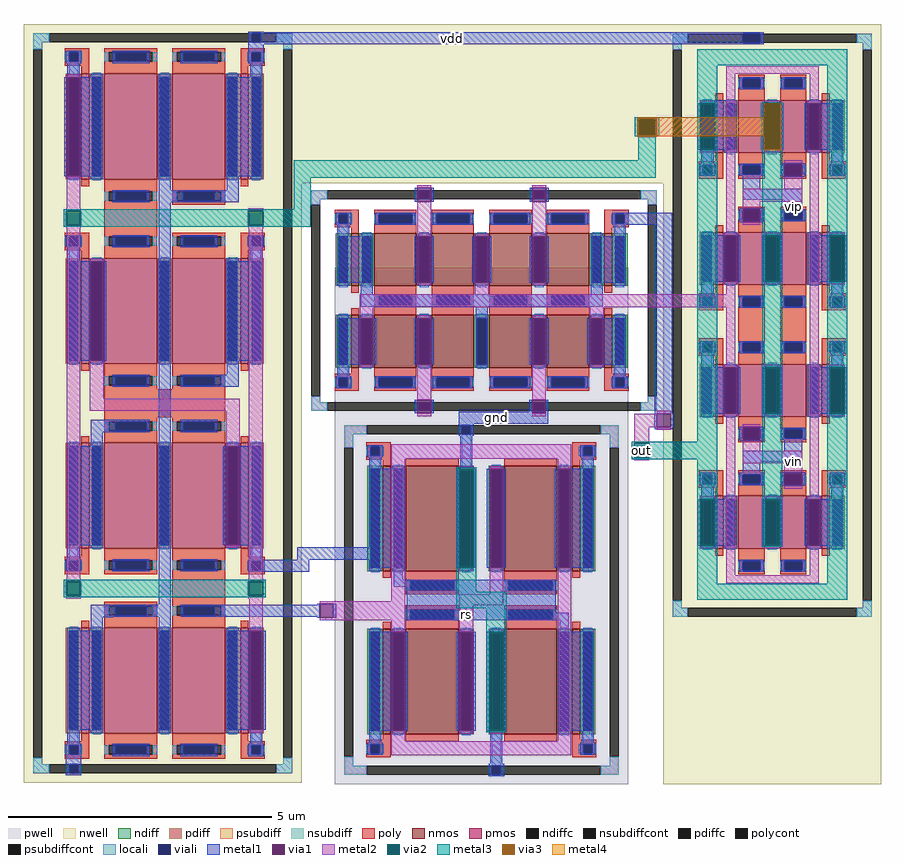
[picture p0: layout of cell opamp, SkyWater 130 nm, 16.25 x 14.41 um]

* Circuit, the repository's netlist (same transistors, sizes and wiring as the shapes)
** sch_path: /home/jevon/opamp/mag/opamp.sch
.subckt opamp VDD GND RS OUT VIN VIP
*.PININFO VDD:B GND:B RS:B OUT:B VIN:B VIP:B
x1 net2 net1 RS GND nmoscs
x2 OUT net4 GND nmoscs2
x3 VDD net3 net1 net2 pmoscs
x4 net3 VIN VIP VDD OUT net4 pmosdiff
.ends

* expanding   symbol:  nmoscs.sym # of pins=4
** sym_path: /home/jevon/opamp/mag/nmoscs.sym
** sch_path: /home/jevon/opamp/mag/nmoscs.sch
.subckt nmoscs D4 D3 RS GND
*.PININFO D3:B D4:B RS:B GND:B
XM4 D4 D3 RS GND sky130_fd_pr__nfet_01v8 L=1 W=2 nf=1 m=2
XM3 D3 D3 GND GND sky130_fd_pr__nfet_01v8 L=1 W=2 nf=1 m=2
XM1 D3 D3 D3 GND sky130_fd_pr__nfet_01v8 L=0.15 W=2 nf=1 m=2
XM2 D4 D4 D4 GND sky130_fd_pr__nfet_01v8 L=0.15 W=2 nf=1 m=2
.ends


* expanding   symbol:  nmoscs2.sym # of pins=3
** sym_path: /home/jevon/opamp/mag/nmoscs2.sym
** sch_path: /home/jevon/opamp/mag/nmoscs2.sch
.subckt nmoscs2 D8 D9 GND
*.PININFO D8:B GND:B D9:B
XM9 D9 D8 GND GND sky130_fd_pr__nfet_01v8 L=0.8 W=1 nf=1 m=4
XM8 D8 D8 GND GND sky130_fd_pr__nfet_01v8 L=0.8 W=1 nf=1 m=4
XM1 D8 D8 D8 GND sky130_fd_pr__nfet_01v8 L=0.15 W=1 nf=1 m=2
XM2 D9 D9 D9 GND sky130_fd_pr__nfet_01v8 L=0.15 W=1 nf=1 m=2
.ends


* expanding   symbol:  pmoscs.sym # of pins=4
** sym_path: /home/jevon/opamp/mag/pmoscs.sym
** sch_path: /home/jevon/opamp/mag/pmoscs.sch
.subckt pmoscs VDD D5 D1 D2
*.PININFO VDD:B D5:B D2:B D1:B
XM1 D1 D2 VDD VDD sky130_fd_pr__pfet_01v8 L=1 W=2 nf=1 m=2
XM2 D2 D2 VDD VDD sky130_fd_pr__pfet_01v8 L=1 W=2 nf=1 m=2
XM5 D5 D2 VDD VDD sky130_fd_pr__pfet_01v8 L=1 W=2 nf=1 m=2
XM3 VDD VDD VDD VDD sky130_fd_pr__pfet_01v8 L=1 W=2 nf=1 m=2
XM4 VDD VDD VDD VDD sky130_fd_pr__pfet_01v8 L=0.15 W=2 nf=1 m=2
XM6 D2 D2 D2 VDD sky130_fd_pr__pfet_01v8 L=0.15 W=2 nf=1 m=2
XM7 D1 D1 D1 VDD sky130_fd_pr__pfet_01v8 L=0.15 W=2 nf=1 m=2
XM8 D5 D5 D5 VDD sky130_fd_pr__pfet_01v8 L=0.15 W=2 nf=1 m=2
.ends


* expanding   symbol:  pmosdiff.sym # of pins=6
** sym_path: /home/jevon/opamp/mag/pmosdiff.sym
** sch_path: /home/jevon/opamp/mag/pmosdiff.sch
.subckt pmosdiff D5 VIN VIP VDD OUT D6
*.PININFO VIN:I VIP:I D6:B D5:B VDD:B OUT:B
XM6 D6 VIN D5 VDD sky130_fd_pr__pfet_01v8 L=0.5 W=1 nf=1 m=4
XM7 OUT VIP D5 VDD sky130_fd_pr__pfet_01v8 L=0.5 W=1 nf=1 m=4
XM1 D6 D6 D6 VDD sky130_fd_pr__pfet_01v8 L=0.15 W=1 nf=1 m=4
XM2 OUT OUT OUT VDD sky130_fd_pr__pfet_01v8 L=0.15 W=1 nf=1 m=4
.ends

.end

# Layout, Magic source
magic
tech sky130A
magscale 1 2
<< nwell >>
rect -1394 2147 -23 2751
rect -23 -130 802 468
<< pwell >>
rect -1269 154 -157 1827
<< metal1 >>
rect -1548 2674 277 2720
rect -121 2334 -111 2386
rect -59 2334 -49 2386
rect 435 2043 503 2126
rect -165 1990 10 2036
rect -799 1236 -459 1282
rect -55 1274 10 1990
rect -799 1230 -741 1236
rect -58 1222 -48 1274
rect 4 1222 14 1274
rect -55 1214 10 1222
rect -1411 721 -1005 767
rect -1547 675 -1365 721
rect -1336 550 -1326 553
rect -1723 504 -1326 550
rect -1336 501 -1326 504
rect -1274 501 -1264 553
<< via1 >>
rect -111 2334 -59 2386
rect -48 1222 4 1274
rect -1326 501 -1274 553
<< metal2 >>
rect -113 2388 -57 2398
rect -113 2322 -57 2332
rect -252 1678 249 1726
rect -48 1274 4 1284
rect -120 1273 -48 1274
rect -133 1222 -48 1273
rect -133 1163 -77 1222
rect -48 1212 4 1222
rect -133 1097 -77 1107
rect 435 1052 503 1134
rect -1326 553 -1002 563
rect -1274 501 -1002 553
rect -1326 491 -1002 501
rect -796 491 -744 537
<< via2 >>
rect -113 2386 -57 2388
rect -113 2334 -111 2386
rect -111 2334 -59 2386
rect -59 2334 -57 2386
rect -113 2332 -57 2334
rect -133 1107 -77 1163
<< metal3 >>
rect -131 2325 -121 2397
rect -49 2325 -39 2397
rect -118 2235 -52 2325
rect 348 2274 358 2450
rect 422 2274 432 2450
rect -1425 2169 -52 2235
rect -1425 2048 -1359 2169
rect -1537 1982 -1359 2048
rect -143 1163 182 1168
rect -143 1107 -133 1163
rect -77 1107 182 1163
rect -143 1102 182 1107
<< via3 >>
rect -121 2388 -49 2397
rect -121 2332 -113 2388
rect -113 2332 -57 2388
rect -57 2332 -49 2388
rect -121 2325 -49 2332
rect 358 2274 422 2450
<< metal4 >>
rect 357 2450 423 2451
rect -122 2397 -48 2398
rect 357 2397 358 2450
rect -122 2325 -121 2397
rect -49 2325 358 2397
rect -122 2324 -48 2325
rect 357 2274 358 2325
rect 422 2274 423 2450
rect 357 2273 423 2274
use nmoscs2  nmoscs2_0
transform 1 0 -1201 0 1 1667
box -157 -402 1152 473
use nmoscs  nmoscs_0
transform 1 0 -1057 0 1 589
box -212 -719 900 677
use pmoscs  pmoscs_0
transform 1 0 -2235 0 1 1209
box -212 -1335 841 1542
use pmosdiff  pmosdiff_0
transform 1 0 220 0 1 2215
box -243 -1747 582 535
<< labels >>
flabel via2 -107 1133 -107 1133 0 FreeSans 480 0 0 0 out
port 0 nsew
flabel metal2 470 1091 470 1091 0 FreeSans 480 0 0 0 vin
port 1 nsew
flabel metal1 470 2059 470 2059 0 FreeSans 480 0 0 0 vip
port 2 nsew
flabel metal1 -823 2697 -823 2697 0 FreeSans 480 0 0 0 vdd
port 3 nsew
flabel metal1 -655 1258 -655 1258 0 FreeSans 480 0 0 0 gnd
port 4 nsew
flabel metal2 -770 512 -770 512 0 FreeSans 480 0 0 0 rs
port 5 nsew
<< end >>

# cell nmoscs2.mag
magic
tech sky130A
magscale 1 2
<< psubdiff >>
rect -157 420 -97 454
rect 1092 420 1152 454
rect -157 398 -123 420
rect 1118 398 1152 420
rect -157 -349 -123 -327
rect 1118 -349 1152 -327
rect -157 -383 -97 -349
rect 1092 -383 1152 -349
<< psubdiffcont >>
rect -97 420 1092 454
rect -157 -327 -123 398
rect 1118 -327 1152 398
rect -97 -383 1092 -349
<< poly >>
rect -68 363 24 379
rect -68 329 -52 363
rect -18 329 24 363
rect -68 313 24 329
rect -6 291 24 313
rect 954 363 1046 379
rect 954 329 996 363
rect 1030 329 1046 363
rect 954 313 1046 329
rect 954 291 984 313
rect -6 -241 24 -219
rect -68 -257 24 -241
rect -68 -291 -52 -257
rect -18 -291 24 -257
rect -68 -307 24 -291
rect 954 -241 984 -219
rect 954 -257 1046 -241
rect 954 -291 996 -257
rect 1030 -291 1046 -257
rect 954 -307 1046 -291
<< polycont >>
rect -52 329 -18 363
rect 996 329 1030 363
rect -52 -291 -18 -257
rect 996 -291 1030 -257
<< locali >>
rect -157 420 -97 454
rect 1092 420 1152 454
rect -157 398 -123 420
rect 1118 398 1152 420
rect -68 329 -52 363
rect -18 329 -2 363
rect 980 329 996 363
rect 1030 329 1046 363
rect -52 291 -18 329
rect 996 291 1030 329
rect -52 -257 -18 -219
rect 996 -257 1030 -219
rect -68 -291 -52 -257
rect -18 -291 -2 -257
rect 980 -291 996 -257
rect 1030 -291 1046 -257
rect -157 -349 -123 -327
rect 1118 -349 1152 -327
rect -157 -383 -97 -349
rect 1092 -383 1152 -349
<< viali >>
rect 254 420 288 454
rect 690 420 724 454
rect -52 329 -18 363
rect 996 329 1030 363
rect -52 -291 -18 -257
rect 996 -291 1030 -257
rect 254 -383 288 -349
rect 690 -383 724 -349
<< metal1 >>
rect 235 411 245 463
rect 297 411 307 463
rect 671 411 681 463
rect 733 411 743 463
rect -64 363 -6 369
rect -64 329 -52 363
rect -18 329 -6 363
rect -64 323 -6 329
rect 984 363 1042 369
rect 984 329 996 363
rect 1030 329 1042 363
rect 984 323 1042 329
rect -58 291 -12 323
rect 990 291 1036 323
rect 990 279 1030 291
rect -52 103 70 279
rect 235 103 245 279
rect 297 103 307 279
rect 453 103 463 279
rect 515 103 525 279
rect 671 103 681 279
rect 733 103 743 279
rect 908 103 1030 279
rect 30 59 76 103
rect 902 59 948 103
rect 30 13 948 59
rect 466 -31 512 13
rect -52 -207 27 -31
rect 79 -207 89 -31
rect 235 -207 245 -31
rect 297 -207 307 -31
rect 671 -207 681 -31
rect 733 -207 743 -31
rect 889 -207 899 -31
rect 951 -207 1030 -31
rect -58 -251 -12 -219
rect 990 -251 1036 -219
rect -64 -257 -6 -251
rect -64 -291 -52 -257
rect -18 -291 -6 -257
rect -64 -297 -6 -291
rect 984 -257 1042 -251
rect 984 -291 996 -257
rect 1030 -291 1042 -257
rect 984 -297 1042 -291
rect 235 -392 245 -340
rect 297 -392 307 -340
rect 670 -392 680 -340
rect 732 -392 742 -340
<< via1 >>
rect 245 454 297 463
rect 245 420 254 454
rect 254 420 288 454
rect 288 420 297 454
rect 245 411 297 420
rect 681 454 733 463
rect 681 420 690 454
rect 690 420 724 454
rect 724 420 733 454
rect 681 411 733 420
rect 245 103 297 279
rect 463 103 515 279
rect 681 103 733 279
rect 27 -207 79 -31
rect 245 -207 297 -31
rect 681 -207 733 -31
rect 899 -207 951 -31
rect 245 -349 297 -340
rect 245 -383 254 -349
rect 254 -383 288 -349
rect 288 -383 297 -349
rect 245 -392 297 -383
rect 680 -349 732 -340
rect 680 -383 690 -349
rect 690 -383 724 -349
rect 724 -383 732 -349
rect 680 -392 732 -383
<< metal2 >>
rect 245 463 297 473
rect 245 279 297 411
rect 681 463 733 473
rect 245 93 297 103
rect 463 279 515 289
rect 463 59 515 103
rect 681 279 733 411
rect 681 93 733 103
rect 27 11 951 59
rect 27 -31 79 11
rect 27 -217 79 -207
rect 245 -31 297 -21
rect 245 -340 297 -207
rect 681 -31 733 -21
rect 681 -208 733 -207
rect 245 -402 297 -392
rect 680 -217 733 -208
rect 899 -31 951 11
rect 899 -217 951 -207
rect 680 -340 732 -217
rect 680 -402 732 -392
use sky130_fd_pr__nfet_01v8_6H9P4D  sky130_fd_pr__nfet_01v8_6H9P4D_0
transform 1 0 9 0 1 191
box -73 -126 73 126
use sky130_fd_pr__nfet_01v8_6H9P4D  sky130_fd_pr__nfet_01v8_6H9P4D_1
transform 1 0 969 0 1 191
box -73 -126 73 126
use sky130_fd_pr__nfet_01v8_6H9P4D  sky130_fd_pr__nfet_01v8_6H9P4D_2
transform 1 0 969 0 1 -119
box -73 -126 73 126
use sky130_fd_pr__nfet_01v8_6H9P4D  sky130_fd_pr__nfet_01v8_6H9P4D_3
transform 1 0 9 0 1 -119
box -73 -126 73 126
use sky130_fd_pr__nfet_01v8_6MBC9T  sky130_fd_pr__nfet_01v8_6MBC9T_0
transform 1 0 271 0 1 -119
box -247 -188 247 188
use sky130_fd_pr__nfet_01v8_6MBC9T  sky130_fd_pr__nfet_01v8_6MBC9T_1
transform 1 0 707 0 1 -119
box -247 -188 247 188
use sky130_fd_pr__nfet_01v8_6MBC9T  sky130_fd_pr__nfet_01v8_6MBC9T_2
transform 1 0 271 0 1 191
box -247 -188 247 188
use sky130_fd_pr__nfet_01v8_6MBC9T  sky130_fd_pr__nfet_01v8_6MBC9T_3
transform 1 0 707 0 1 191
box -247 -188 247 188
<< labels >>
flabel space 162 182 162 182 0 FreeSans 480 0 0 0 M8
flabel space 377 181 377 181 0 FreeSans 480 0 0 0 M9
flabel space 595 180 595 180 0 FreeSans 480 0 0 0 M9
flabel space 815 -115 815 -115 0 FreeSans 480 0 0 0 M9
flabel space 158 -117 158 -117 0 FreeSans 480 0 0 0 M9
flabel space 813 184 813 184 0 FreeSans 480 0 0 0 M8
flabel space 594 -126 594 -126 0 FreeSans 480 0 0 0 M8
flabel space 381 -130 381 -130 0 FreeSans 480 0 0 0 M8
flabel metal2 706 -326 706 -326 0 FreeSans 480 0 0 0 gnd
port 0 nsew
flabel metal1 53 75 53 75 0 FreeSans 480 0 0 0 d8
port 1 nsew
flabel metal2 925 -4 925 -4 0 FreeSans 480 0 0 0 d9
port 2 nsew
<< end >>

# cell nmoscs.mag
magic
tech sky130A
magscale 1 2
<< pwell >>
rect -212 -719 900 677
<< psubdiff >>
rect -176 607 -90 641
rect 796 607 864 641
rect -176 555 -142 607
rect 830 555 864 607
rect -176 -649 -142 -615
rect 830 -649 864 -615
rect -176 -683 -90 -649
rect 796 -683 864 -649
<< psubdiffcont >>
rect -90 607 796 641
rect -176 -615 -142 555
rect 830 -615 864 555
rect -90 -683 796 -649
<< poly >>
rect -92 560 0 576
rect -92 526 -76 560
rect -42 526 0 560
rect -92 510 0 526
rect -30 488 0 510
rect 688 560 780 576
rect 688 526 730 560
rect 764 526 780 560
rect 688 510 780 526
rect 688 488 718 510
rect -30 -552 0 -530
rect -92 -568 0 -552
rect -92 -602 -76 -568
rect -42 -602 0 -568
rect -92 -618 0 -602
rect 688 -568 780 -552
rect 688 -602 730 -568
rect 764 -602 780 -568
rect 688 -618 780 -602
<< polycont >>
rect -76 526 -42 560
rect 730 526 764 560
rect -76 -602 -42 -568
rect 730 -602 764 -568
<< locali >>
rect -176 607 -90 641
rect 796 607 864 641
rect -176 555 -142 607
rect -92 526 -76 560
rect -42 526 -26 560
rect -76 488 -42 526
rect 270 487 304 607
rect 714 526 730 560
rect 764 526 780 560
rect 830 555 864 607
rect 730 488 764 526
rect -76 -568 -42 -530
rect -92 -602 -76 -568
rect -42 -602 -26 -568
rect -176 -649 -142 -615
rect 384 -649 418 -530
rect 730 -568 764 -533
rect 714 -602 730 -568
rect 764 -602 780 -568
rect 830 -649 864 -615
rect -176 -683 -90 -649
rect 796 -683 864 -649
<< viali >>
rect 270 607 304 641
rect -76 526 -42 560
rect 730 526 764 560
rect -76 -602 -42 -568
rect 730 -602 764 -568
rect 384 -683 418 -649
<< metal1 >>
rect 258 641 316 647
rect 258 607 270 641
rect 304 607 316 641
rect 258 601 316 607
rect -88 560 -30 566
rect -88 526 -76 560
rect -42 526 -30 560
rect -88 520 -30 526
rect -82 488 -36 520
rect 264 482 310 601
rect 718 560 776 566
rect 718 526 730 560
rect 764 526 776 560
rect 718 520 776 526
rect 724 488 770 520
rect -76 100 46 476
rect 251 100 261 476
rect 313 100 323 476
rect 365 100 375 476
rect 427 100 437 476
rect 623 100 633 476
rect 685 100 764 476
rect 12 56 46 88
rect 12 28 626 56
rect 62 -70 626 28
rect 62 -98 676 -70
rect 642 -130 676 -98
rect -76 -518 3 -142
rect 55 -518 65 -142
rect 251 -518 261 -142
rect 313 -518 323 -142
rect 365 -518 375 -142
rect 427 -518 437 -142
rect 642 -518 764 -142
rect -82 -562 -36 -530
rect -88 -568 -30 -562
rect -88 -602 -76 -568
rect -42 -602 -30 -568
rect -88 -608 -30 -602
rect 378 -643 424 -525
rect 724 -562 770 -527
rect 718 -568 776 -562
rect 718 -602 730 -568
rect 764 -602 776 -568
rect 718 -608 776 -602
rect 372 -649 430 -643
rect 372 -683 384 -649
rect 418 -683 430 -649
rect 372 -689 430 -683
<< via1 >>
rect 261 100 313 476
rect 375 100 427 476
rect 633 100 685 476
rect 3 -518 55 -142
rect 261 -518 313 -142
rect 375 -518 427 -142
<< metal2 >>
rect 3 514 685 568
rect 3 -142 55 514
rect 259 476 315 486
rect 259 90 315 100
rect 375 476 427 486
rect 375 0 427 100
rect 3 -556 55 -518
rect 261 -42 427 0
rect 633 476 685 514
rect 261 -142 313 -42
rect 261 -528 313 -518
rect 373 -142 429 -132
rect 373 -528 429 -518
rect 633 -556 685 100
rect 3 -610 685 -556
<< via2 >>
rect 259 100 261 476
rect 261 100 313 476
rect 313 100 315 476
rect 373 -518 375 -142
rect 375 -518 427 -142
rect 427 -518 429 -142
<< metal3 >>
rect 249 476 325 481
rect 249 100 259 476
rect 315 100 325 476
rect 249 10 325 100
rect 249 -52 440 10
rect 363 -142 439 -52
rect 363 -518 373 -142
rect 429 -518 439 -142
rect 363 -523 439 -518
use sky130_fd_pr__nfet_01v8_27FZYL  sky130_fd_pr__nfet_01v8_27FZYL_0
transform 1 0 344 0 1 257
box -344 -257 344 257
use sky130_fd_pr__nfet_01v8_Q6296P  sky130_fd_pr__nfet_01v8_Q6296P_0
transform 1 0 344 0 1 -299
box -344 -257 344 257
use sky130_fd_pr__nfet_01v8_TC9PLT  sky130_fd_pr__nfet_01v8_TC9PLT_0
transform 1 0 703 0 1 288
box -73 -226 73 226
use sky130_fd_pr__nfet_01v8_TC9PLT  sky130_fd_pr__nfet_01v8_TC9PLT_1
transform 1 0 -15 0 1 288
box -73 -226 73 226
use sky130_fd_pr__nfet_01v8_TC9PLT  sky130_fd_pr__nfet_01v8_TC9PLT_2
transform 1 0 -15 0 1 -330
box -73 -226 73 226
use sky130_fd_pr__nfet_01v8_TC9PLT  sky130_fd_pr__nfet_01v8_TC9PLT_3
transform 1 0 703 0 1 -330
box -73 -226 73 226
<< labels >>
flabel metal1 400 -630 401 -630 0 FreeSans 480 0 0 0 gnd
port 0 nsew
flabel metal1 -15 214 -15 214 0 FreeSans 480 0 0 0 d3
port 1 nsew
flabel metal2 402 69 402 69 0 FreeSans 480 0 0 0 rs
port 2 nsew
flabel metal2 657 534 657 534 0 FreeSans 480 0 0 0 d4
port 3 nsew
<< end >>

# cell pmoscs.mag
magic
tech sky130A
magscale 1 2
<< nwell >>
rect -212 -1335 841 1542
<< nsubdiff >>
rect -176 1472 -116 1506
rect 745 1472 805 1506
rect -176 1447 -142 1472
rect 771 1447 805 1472
rect -176 -1265 -142 -1240
rect 771 -1265 805 -1240
rect -176 -1299 -116 -1265
rect 745 -1299 805 -1265
<< nsubdiffcont >>
rect -116 1472 745 1506
rect -176 -1240 -142 1447
rect 771 -1240 805 1447
rect -116 -1299 745 -1265
<< poly >>
rect -57 1434 35 1450
rect -57 1400 -41 1434
rect -7 1400 35 1434
rect -57 1384 35 1400
rect 5 1353 35 1384
rect 609 1434 701 1450
rect 609 1400 651 1434
rect 685 1400 701 1434
rect 609 1384 701 1400
rect 609 1374 639 1384
rect 93 751 293 856
rect -57 735 35 751
rect -57 701 -41 735
rect -7 701 35 735
rect -57 685 35 701
rect 5 654 35 685
rect 609 735 701 751
rect 609 701 651 735
rect 685 701 701 735
rect 609 685 701 701
rect 609 654 639 685
rect 93 51 551 157
rect 5 -477 35 -446
rect -57 -493 35 -477
rect -57 -527 -41 -493
rect -7 -527 35 -493
rect -57 -543 35 -527
rect 609 -478 639 -448
rect 609 -494 701 -478
rect 609 -528 651 -494
rect 685 -528 701 -494
rect 351 -649 551 -543
rect 609 -544 701 -528
rect 5 -1177 35 -1146
rect -57 -1193 35 -1177
rect -57 -1227 -41 -1193
rect -7 -1227 35 -1193
rect -57 -1243 35 -1227
rect 609 -1177 639 -1147
rect 609 -1193 701 -1177
rect 609 -1227 651 -1193
rect 685 -1227 701 -1193
rect 609 -1243 701 -1227
<< polycont >>
rect -41 1400 -7 1434
rect 651 1400 685 1434
rect -41 701 -7 735
rect 651 701 685 735
rect -41 -527 -7 -493
rect 651 -528 685 -494
rect -41 -1227 -7 -1193
rect 651 -1227 685 -1193
<< locali >>
rect -176 1472 -116 1506
rect 745 1472 805 1506
rect -176 1447 -142 1472
rect 771 1447 805 1472
rect -57 1400 -41 1434
rect -7 1400 9 1434
rect 635 1400 651 1434
rect 685 1400 701 1434
rect -41 1353 -7 1400
rect 651 1346 685 1400
rect -57 701 -41 735
rect -7 701 9 735
rect 635 701 651 735
rect 685 701 701 735
rect -41 654 -7 701
rect 651 654 685 701
rect -41 -493 -7 -431
rect -57 -527 -41 -493
rect -7 -527 9 -493
rect 651 -494 685 -448
rect 635 -528 651 -494
rect 685 -528 701 -494
rect -41 -1193 -7 -1146
rect 651 -1193 685 -1124
rect -57 -1227 -41 -1193
rect -7 -1227 9 -1193
rect 635 -1227 651 -1193
rect 685 -1227 701 -1193
rect -176 -1265 -142 -1240
rect 771 -1265 805 -1240
rect -176 -1299 -116 -1265
rect 745 -1299 805 -1265
<< viali >>
rect 651 1472 685 1506
rect -41 1400 -7 1434
rect 651 1400 685 1434
rect -41 701 -7 735
rect 651 701 685 735
rect -41 -527 -7 -493
rect 651 -528 685 -494
rect -41 -1227 -7 -1193
rect 651 -1227 685 -1193
rect -41 -1299 -7 -1265
<< metal1 >>
rect 639 1506 697 1512
rect 639 1472 651 1506
rect 685 1472 697 1506
rect -53 1434 5 1440
rect -53 1400 -41 1434
rect -7 1400 5 1434
rect -53 1394 5 1400
rect 639 1434 697 1472
rect 639 1400 651 1434
rect 685 1400 697 1434
rect 639 1394 697 1400
rect -47 1353 -1 1394
rect -60 965 -50 1341
rect 2 965 81 1341
rect 299 912 345 1353
rect 645 1343 691 1394
rect 563 965 685 1341
rect 557 912 603 958
rect 299 866 387 912
rect 519 866 603 912
rect -53 735 5 741
rect -53 701 -41 735
rect -7 701 5 735
rect -53 695 5 701
rect -47 654 -1 695
rect -41 266 38 642
rect 90 266 100 642
rect 41 -6 126 41
rect 41 -49 87 -6
rect -41 -434 81 -58
rect -41 -446 0 -434
rect -47 -487 -1 -446
rect -53 -493 5 -487
rect -53 -527 -41 -493
rect -7 -527 5 -493
rect -53 -533 5 -527
rect 299 -659 345 866
rect 639 735 697 741
rect 639 701 651 735
rect 685 701 697 735
rect 639 695 697 701
rect 645 654 691 695
rect 563 266 685 642
rect 557 213 603 262
rect 520 167 603 213
rect 544 -434 554 -58
rect 606 -413 685 -58
rect 606 -434 691 -413
rect 645 -488 691 -434
rect 639 -494 697 -488
rect 639 -528 651 -494
rect 685 -528 697 -494
rect 639 -534 697 -528
rect 41 -706 126 -659
rect 256 -705 345 -659
rect 41 -751 87 -706
rect -41 -1134 81 -758
rect -41 -1146 -1 -1134
rect 299 -1146 345 -705
rect 563 -1134 642 -758
rect 694 -1134 704 -758
rect -47 -1187 -1 -1146
rect 645 -1187 691 -1134
rect -53 -1193 5 -1187
rect -53 -1227 -41 -1193
rect -7 -1227 5 -1193
rect -53 -1265 5 -1227
rect 639 -1193 697 -1187
rect 639 -1227 651 -1193
rect 685 -1227 697 -1193
rect 639 -1233 697 -1227
rect -53 -1299 -41 -1265
rect -7 -1299 5 -1265
rect -53 -1305 5 -1299
<< via1 >>
rect -50 965 2 1341
rect 38 266 90 642
rect 554 -434 606 -58
rect 642 -1134 694 -758
<< metal2 >>
rect -50 1341 2 1351
rect -50 844 2 965
rect -52 834 4 844
rect -52 768 4 778
rect 639 834 695 844
rect 639 768 695 778
rect -50 -560 2 768
rect 38 642 90 652
rect 38 122 90 266
rect 38 76 606 122
rect 554 -58 606 76
rect 554 -444 606 -434
rect 641 -560 693 768
rect -52 -570 4 -560
rect -52 -636 4 -626
rect 639 -570 695 -560
rect 639 -636 695 -626
rect 642 -758 694 -636
rect 642 -1145 694 -1134
<< via2 >>
rect -52 778 4 834
rect 639 778 695 834
rect -52 -626 4 -570
rect 639 -626 695 -570
<< metal3 >>
rect -62 834 705 839
rect -62 778 -52 834
rect 4 778 639 834
rect 695 778 705 834
rect -62 773 705 778
rect -62 -570 705 -565
rect -62 -626 -52 -570
rect 4 -626 639 -570
rect 695 -626 705 -570
rect -62 -631 705 -626
use sky130_fd_pr__pfet_01v8_2ZH9AN  sky130_fd_pr__pfet_01v8_2ZH9AN_0
transform 1 0 624 0 1 454
box -109 -262 109 262
use sky130_fd_pr__pfet_01v8_2ZH9AN  sky130_fd_pr__pfet_01v8_2ZH9AN_1
transform 1 0 624 0 1 -946
box -109 -262 109 262
use sky130_fd_pr__pfet_01v8_2ZH9AN  sky130_fd_pr__pfet_01v8_2ZH9AN_2
transform 1 0 624 0 1 -246
box -109 -262 109 262
use sky130_fd_pr__pfet_01v8_2ZH9AN  sky130_fd_pr__pfet_01v8_2ZH9AN_3
transform 1 0 20 0 1 -946
box -109 -262 109 262
use sky130_fd_pr__pfet_01v8_2ZH9AN  sky130_fd_pr__pfet_01v8_2ZH9AN_4
transform 1 0 20 0 1 -246
box -109 -262 109 262
use sky130_fd_pr__pfet_01v8_2ZH9AN  sky130_fd_pr__pfet_01v8_2ZH9AN_5
transform 1 0 20 0 1 454
box -109 -262 109 262
use sky130_fd_pr__pfet_01v8_2ZH9AN  sky130_fd_pr__pfet_01v8_2ZH9AN_6
transform 1 0 20 0 1 1153
box -109 -262 109 262
use sky130_fd_pr__pfet_01v8_2ZH9AN  sky130_fd_pr__pfet_01v8_2ZH9AN_7
transform 1 0 624 0 1 1153
box -109 -262 109 262
use sky130_fd_pr__pfet_01v8_SDE6B7  sky130_fd_pr__pfet_01v8_SDE6B7_0
transform 1 0 322 0 1 1153
box -323 -300 323 300
use sky130_fd_pr__pfet_01v8_SDE6B7  sky130_fd_pr__pfet_01v8_SDE6B7_1
transform 1 0 322 0 1 454
box -323 -300 323 300
use sky130_fd_pr__pfet_01v8_SDE6B7  sky130_fd_pr__pfet_01v8_SDE6B7_2
transform 1 0 322 0 1 -246
box -323 -300 323 300
use sky130_fd_pr__pfet_01v8_SDE6B7  sky130_fd_pr__pfet_01v8_SDE6B7_3
transform 1 0 322 0 1 -946
box -323 -300 323 300
<< labels >>
flabel nwell 668 -957 668 -957 0 FreeSans 160 0 0 0 D5
flabel nwell 624 -958 624 -958 0 FreeSans 160 0 0 0 D
flabel nwell 580 -954 580 -954 0 FreeSans 160 0 0 0 D5
flabel nwell 450 -948 450 -948 0 FreeSans 160 0 0 0 M5
flabel nwell 323 -951 323 -951 0 FreeSans 160 0 0 0 S
flabel nwell 195 -945 195 -945 0 FreeSans 160 0 0 0 D
flabel nwell 64 -938 64 -938 0 FreeSans 160 0 0 0 S
flabel nwell 19 -935 19 -935 0 FreeSans 160 0 0 0 D
flabel nwell -23 -934 -23 -934 0 FreeSans 160 0 0 0 S
flabel nwell 668 -255 668 -255 0 FreeSans 160 0 0 0 D1
flabel nwell 624 -257 624 -257 0 FreeSans 160 0 0 0 D
flabel nwell 578 -254 578 -254 0 FreeSans 160 0 0 0 D1
flabel nwell 448 -250 448 -250 0 FreeSans 160 0 0 0 M1
flabel nwell 323 -246 323 -246 0 FreeSans 160 0 0 0 S
flabel nwell 187 -242 187 -242 0 FreeSans 160 0 0 0 M2
flabel nwell 66 -242 66 -242 0 FreeSans 160 0 0 0 D2
flabel nwell 17 -242 17 -242 0 FreeSans 160 0 0 0 D
flabel nwell -26 -238 -26 -238 0 FreeSans 160 0 0 0 D2
flabel nwell 667 444 667 444 0 FreeSans 160 0 0 0 D2
flabel nwell 624 445 624 445 0 FreeSans 160 0 0 0 D
flabel nwell 578 447 578 447 0 FreeSans 160 0 0 0 D2
flabel nwell 459 451 459 451 0 FreeSans 160 0 0 0 M2
flabel nwell 322 451 322 451 0 FreeSans 160 0 0 0 S
flabel nwell 190 454 190 454 0 FreeSans 160 0 0 0 M1
flabel nwell 65 455 65 455 0 FreeSans 160 0 0 0 D1
flabel nwell 19 457 19 457 0 FreeSans 160 0 0 0 D
flabel nwell -23 460 -23 460 0 FreeSans 160 0 0 0 D1
flabel nwell 669 1149 669 1149 0 FreeSans 160 0 0 0 S
flabel nwell 624 1149 624 1149 0 FreeSans 160 0 0 0 D
flabel nwell 580 1149 580 1149 0 FreeSans 160 0 0 0 S
flabel nwell 450 1149 450 1149 0 FreeSans 160 0 0 0 D
flabel nwell 322 1149 322 1149 0 FreeSans 160 0 0 0 S
flabel nwell 192 1149 192 1149 0 FreeSans 160 0 0 0 M5
flabel nwell 64 1149 64 1149 0 FreeSans 160 0 0 0 D5
flabel nwell 20 1149 20 1149 0 FreeSans 160 0 0 0 D
flabel nwell -25 1149 -25 1149 0 FreeSans 160 0 0 0 D5
flabel metal1 668 1460 668 1460 0 FreeSans 160 0 0 0 vdd
port 1 nsew
flabel metal2 64 126 64 126 0 FreeSans 160 0 0 0 d1
port 2 nsew
flabel metal1 578 192 578 192 0 FreeSans 160 0 0 0 d2
port 3 nsew
flabel metal2 667 126 667 126 0 FreeSans 160 0 0 0 d5
port 4 nsew
<< end >>

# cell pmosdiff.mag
magic
tech sky130A
magscale 1 2
<< nwell >>
rect -243 -1747 582 535
<< nsubdiff >>
rect -207 465 -151 499
rect 490 465 546 499
rect -207 439 -173 465
rect 512 439 546 465
rect -207 -1677 -173 -1651
rect 512 -1677 546 -1651
rect -207 -1711 -151 -1677
rect 490 -1711 546 -1677
<< nsubdiffcont >>
rect -151 465 490 499
rect -207 -1651 -173 439
rect 512 -1651 546 439
rect -151 -1711 490 -1677
<< poly >>
rect -47 16 -17 47
rect -109 0 -17 16
rect -109 -34 -93 0
rect -59 -34 -17 0
rect -109 -50 -17 -34
rect 357 16 387 47
rect 357 0 449 16
rect 357 -34 399 0
rect 433 -34 449 0
rect 357 -50 449 -34
rect -47 -484 -17 -453
rect -109 -500 -17 -484
rect -109 -534 -93 -500
rect -59 -534 -17 -500
rect -109 -550 -17 -534
rect 357 -484 387 -453
rect 357 -500 449 -484
rect 357 -534 399 -500
rect 433 -534 449 -500
rect 357 -550 449 -534
rect -109 -672 -17 -656
rect 41 -657 141 -550
rect 199 -657 299 -550
rect -109 -706 -93 -672
rect -59 -706 -17 -672
rect -109 -722 -17 -706
rect -47 -753 -17 -722
rect 357 -672 449 -656
rect 357 -706 399 -672
rect 433 -706 449 -672
rect 357 -722 449 -706
rect 357 -753 387 -722
rect -109 -1172 -17 -1156
rect -109 -1206 -93 -1172
rect -59 -1206 -17 -1172
rect -109 -1222 -17 -1206
rect -47 -1253 -17 -1222
rect 357 -1172 449 -1156
rect 357 -1206 399 -1172
rect 433 -1206 449 -1172
rect 357 -1222 449 -1206
rect 357 -1253 387 -1222
<< polycont >>
rect -93 -34 -59 0
rect 399 -34 433 0
rect -93 -534 -59 -500
rect 399 -534 433 -500
rect -93 -706 -59 -672
rect 399 -706 433 -672
rect -93 -1206 -59 -1172
rect 399 -1206 433 -1172
<< locali >>
rect -207 465 -151 499
rect 490 465 546 499
rect -207 439 -173 465
rect 512 439 546 465
rect -93 0 -59 47
rect 399 0 433 59
rect -109 -34 -93 0
rect -59 -34 -43 0
rect 383 -34 399 0
rect 433 -34 449 0
rect -93 -500 -59 -453
rect 399 -500 433 -453
rect -109 -534 -93 -500
rect -59 -534 -43 -500
rect 383 -534 399 -500
rect 433 -534 449 -500
rect -109 -706 -93 -672
rect -59 -706 -43 -672
rect 383 -706 399 -672
rect 433 -706 449 -672
rect -93 -753 -59 -706
rect 399 -753 433 -706
rect -109 -1206 -93 -1172
rect -59 -1206 -43 -1172
rect 383 -1206 399 -1172
rect 433 -1206 449 -1172
rect -93 -1253 -59 -1206
rect 399 -1253 433 -1206
rect -207 -1677 -173 -1651
rect 512 -1677 546 -1651
rect -207 -1711 -151 -1677
rect 490 -1711 546 -1677
<< viali >>
rect 57 465 125 499
rect -93 -34 -59 0
rect 399 -34 433 0
rect -93 -534 -59 -500
rect 399 -534 433 -500
rect -93 -706 -59 -672
rect 399 -706 433 -672
rect -93 -1206 -59 -1172
rect 399 -1206 433 -1172
<< metal1 >>
rect 45 499 137 505
rect 45 465 57 499
rect 125 465 137 499
rect 45 459 137 465
rect -59 235 -5 247
rect -112 59 -102 235
rect -50 59 29 235
rect 134 59 144 235
rect 196 59 206 235
rect 292 59 302 235
rect 354 59 433 235
rect -99 6 -53 47
rect -105 0 -47 6
rect -105 -34 -93 0
rect -59 -34 -47 0
rect -105 -40 -47 -34
rect 57 -89 125 -34
rect 205 -43 215 9
rect 283 -43 293 9
rect 393 6 439 59
rect 387 0 445 6
rect 387 -34 399 0
rect 433 -34 445 0
rect 387 -40 445 -34
rect 57 -131 283 -89
rect 47 -215 57 -163
rect 125 -215 135 -163
rect 215 -172 283 -131
rect -93 -441 -14 -265
rect 38 -441 48 -265
rect 134 -441 144 -265
rect 196 -441 206 -265
rect 311 -441 390 -265
rect 442 -441 452 -265
rect -99 -494 -53 -453
rect 393 -494 439 -453
rect -105 -500 -47 -494
rect -105 -534 -93 -500
rect -59 -534 -47 -500
rect -105 -540 -47 -534
rect 387 -500 445 -494
rect 387 -534 399 -500
rect 433 -534 445 -500
rect 387 -540 445 -534
rect -105 -672 -47 -666
rect -105 -706 -93 -672
rect -59 -706 -47 -672
rect -105 -712 -47 -706
rect 387 -672 445 -666
rect 387 -706 399 -672
rect 433 -706 445 -672
rect 387 -712 445 -706
rect -99 -753 -53 -712
rect 393 -753 439 -712
rect -93 -941 -14 -765
rect 38 -941 48 -765
rect 134 -941 144 -765
rect 196 -941 206 -765
rect 311 -941 390 -765
rect 442 -941 452 -765
rect 47 -1043 57 -991
rect 125 -1043 135 -991
rect 215 -1081 283 -1034
rect 57 -1123 283 -1081
rect -105 -1172 -47 -1166
rect 57 -1172 125 -1123
rect -105 -1206 -93 -1172
rect -59 -1206 -47 -1172
rect -105 -1212 -47 -1206
rect -99 -1253 -53 -1212
rect 205 -1215 215 -1163
rect 283 -1215 293 -1163
rect 387 -1172 445 -1166
rect 387 -1206 399 -1172
rect 433 -1206 445 -1172
rect 387 -1212 445 -1206
rect 393 -1253 439 -1212
rect -112 -1441 -102 -1265
rect -50 -1441 29 -1265
rect 134 -1441 144 -1265
rect 196 -1441 206 -1265
rect 292 -1441 302 -1265
rect 354 -1441 433 -1265
<< via1 >>
rect -102 59 -50 235
rect 144 59 196 235
rect 302 59 354 235
rect 215 -43 283 9
rect 57 -215 125 -163
rect -14 -441 38 -265
rect 144 -441 196 -265
rect 390 -441 442 -265
rect -14 -941 38 -765
rect 144 -941 196 -765
rect 390 -941 442 -765
rect 57 -1043 125 -991
rect 215 -1215 283 -1163
rect -102 -1441 -50 -1265
rect 144 -1441 196 -1265
rect 302 -1441 354 -1265
<< metal2 >>
rect -5 347 345 376
rect -104 235 -48 245
rect -104 49 -48 59
rect -5 -255 29 347
rect 311 245 345 347
rect 142 235 198 245
rect 142 49 198 59
rect 302 235 354 245
rect 302 49 354 59
rect 215 9 283 19
rect 215 -89 283 -43
rect 57 -138 283 -89
rect 57 -163 125 -138
rect 57 -225 125 -215
rect -14 -265 38 -255
rect -14 -451 38 -441
rect 142 -265 198 -255
rect 142 -451 198 -441
rect -5 -755 29 -451
rect -14 -765 38 -755
rect -14 -951 38 -941
rect 142 -765 198 -755
rect 142 -951 198 -941
rect -104 -1265 -48 -1255
rect -104 -1451 -48 -1441
rect -5 -1553 29 -951
rect 57 -991 125 -981
rect 57 -1081 125 -1043
rect 57 -1130 283 -1081
rect 215 -1163 283 -1130
rect 215 -1225 283 -1215
rect 311 -1255 345 49
rect 388 -265 444 -255
rect 388 -451 444 -441
rect 388 -765 444 -755
rect 388 -951 444 -941
rect 142 -1265 198 -1255
rect 142 -1451 198 -1441
rect 302 -1265 354 -1255
rect 302 -1451 354 -1441
rect 311 -1553 345 -1451
rect -5 -1584 345 -1553
<< via2 >>
rect -104 59 -102 235
rect -102 59 -50 235
rect -50 59 -48 235
rect 142 59 144 235
rect 144 59 196 235
rect 196 59 198 235
rect 142 -441 144 -265
rect 144 -441 196 -265
rect 196 -441 198 -265
rect 142 -941 144 -765
rect 144 -941 196 -765
rect 196 -941 198 -765
rect -104 -1441 -102 -1265
rect -102 -1441 -50 -1265
rect -50 -1441 -48 -1265
rect 388 -441 390 -265
rect 390 -441 442 -265
rect 442 -441 444 -265
rect 388 -941 390 -765
rect 390 -941 442 -765
rect 442 -941 444 -765
rect 142 -1441 144 -1265
rect 144 -1441 196 -1265
rect 196 -1441 198 -1265
<< metal3 >>
rect -114 380 454 440
rect -114 235 -38 380
rect -114 59 -104 235
rect -48 59 -38 235
rect -114 -1265 -38 59
rect -114 -1441 -104 -1265
rect -48 -1441 -38 -1265
rect -114 -1586 -38 -1441
rect 132 235 208 240
rect 132 59 142 235
rect 198 59 208 235
rect 132 -265 208 59
rect 132 -441 142 -265
rect 198 -441 208 -265
rect 132 -765 208 -441
rect 132 -941 142 -765
rect 198 -941 208 -765
rect 132 -1265 208 -941
rect 132 -1441 142 -1265
rect 198 -1441 208 -1265
rect 132 -1446 208 -1441
rect 378 -265 454 380
rect 378 -441 388 -265
rect 444 -441 454 -265
rect 378 -765 454 -441
rect 378 -941 388 -765
rect 444 -941 454 -765
rect 378 -1586 454 -941
rect -114 -1646 454 -1586
use sky130_fd_pr__pfet_01v8_2XUZHN  sky130_fd_pr__pfet_01v8_2XUZHN_0
transform 1 0 -32 0 1 147
box -109 -162 109 162
use sky130_fd_pr__pfet_01v8_2XUZHN  sky130_fd_pr__pfet_01v8_2XUZHN_1
transform 1 0 372 0 1 -853
box -109 -162 109 162
use sky130_fd_pr__pfet_01v8_2XUZHN  sky130_fd_pr__pfet_01v8_2XUZHN_2
transform 1 0 372 0 1 147
box -109 -162 109 162
use sky130_fd_pr__pfet_01v8_2XUZHN  sky130_fd_pr__pfet_01v8_2XUZHN_3
transform 1 0 -32 0 1 -353
box -109 -162 109 162
use sky130_fd_pr__pfet_01v8_2XUZHN  sky130_fd_pr__pfet_01v8_2XUZHN_4
transform 1 0 372 0 1 -353
box -109 -162 109 162
use sky130_fd_pr__pfet_01v8_2XUZHN  sky130_fd_pr__pfet_01v8_2XUZHN_5
transform 1 0 -32 0 1 -853
box -109 -162 109 162
use sky130_fd_pr__pfet_01v8_2XUZHN  sky130_fd_pr__pfet_01v8_2XUZHN_6
transform 1 0 -32 0 1 -1353
box -109 -162 109 162
use sky130_fd_pr__pfet_01v8_2XUZHN  sky130_fd_pr__pfet_01v8_2XUZHN_7
transform 1 0 372 0 1 -1353
box -109 -162 109 162
use sky130_fd_pr__pfet_01v8_BHVYY6  sky130_fd_pr__pfet_01v8_BHVYY6_0
transform 1 0 170 0 1 -1353
box -223 -200 223 200
use sky130_fd_pr__pfet_01v8_BHVYY6  sky130_fd_pr__pfet_01v8_BHVYY6_1
transform 1 0 170 0 1 147
box -223 -200 223 200
use sky130_fd_pr__pfet_01v8_BHVYY6  sky130_fd_pr__pfet_01v8_BHVYY6_2
transform 1 0 170 0 1 -353
box -223 -200 223 200
use sky130_fd_pr__pfet_01v8_BHVYY6  sky130_fd_pr__pfet_01v8_BHVYY6_3
transform 1 0 170 0 1 -853
box -223 -200 223 200
<< labels >>
flabel viali 91 482 91 482 0 FreeSans 480 0 0 0 vdd
port 0 nsew
flabel metal2 327 361 327 361 0 FreeSans 480 0 0 0 d6
port 1 nsew
flabel via2 -76 -1354 -76 -1354 0 FreeSans 480 0 0 0 out
port 3 nsew
flabel via1 249 -1189 249 -1189 0 FreeSans 480 0 0 0 vin
port 4 nsew
flabel metal1 91 -68 91 -68 0 FreeSans 480 0 0 0 vip
port 5 nsew
flabel metal3 169 -609 169 -609 0 FreeSans 480 0 0 0 d5
port 6 nsew
<< end >>

# cell sky130_fd_pr__pfet_01v8_2XUZHN: kit device sky130_fd_pr__pfet_01v8, w 1 l 0.15 m 1 nf 1 diffcov 100 polycov 100 guard 0 glc 1 grc 1 gtc 1 gbc 1 tbcov 100 rlcov 100 topc 0 botc 0 poverlap 0 doverlap 1 lmin 0.15 wmin 0.42 compatible {sky130_fd_pr__pfet_01v8 sky130_fd_pr__pfet_01v8_lvt sky130_fd_pr__pfet_01v8_hvt sky130_fd_pr__pfet_g5v0d10v5} full_metal 1 viasrc 100 viadrn 100 viagate 100 viagb 0 viagr 0 viagl 0 viagt 0

# cell sky130_fd_pr__pfet_01v8_BHVYY6: kit device sky130_fd_pr__pfet_01v8, w 1 l 0.5 m 1 nf 2 diffcov 100 polycov 100 guard 0 glc 1 grc 1 gtc 1 gbc 1 tbcov 100 rlcov 100 topc 1 botc 1 poverlap 0 doverlap 1 lmin 0.15 wmin 0.42 compatible {sky130_fd_pr__pfet_01v8 sky130_fd_pr__pfet_01v8_lvt sky130_fd_pr__pfet_01v8_hvt sky130_fd_pr__pfet_g5v0d10v5} full_metal 1 viasrc 100 viadrn 100 viagate 100 viagb 0 viagr 0 viagl 0 viagt 0

# cell sky130_fd_pr__pfet_01v8_2ZH9AN: kit device sky130_fd_pr__pfet_01v8, w 2 l 0.15 m 1 nf 1 diffcov 100 polycov 100 guard 0 glc 1 grc 1 gtc 1 gbc 1 tbcov 100 rlcov 100 topc 0 botc 0 poverlap 0 doverlap 1 lmin 0.15 wmin 0.42 compatible {sky130_fd_pr__pfet_01v8 sky130_fd_pr__pfet_01v8_lvt sky130_fd_pr__pfet_01v8_hvt sky130_fd_pr__pfet_g5v0d10v5} full_metal 1 viasrc 100 viadrn 100 viagate 100 viagb 0 viagr 0 viagl 0 viagt 0

# cell sky130_fd_pr__pfet_01v8_SDE6B7: kit device sky130_fd_pr__pfet_01v8, w 2 l 1 m 1 nf 2 diffcov 100 polycov 100 guard 0 glc 1 grc 1 gtc 1 gbc 1 tbcov 100 rlcov 100 topc 1 botc 1 poverlap 0 doverlap 1 lmin 0.15 wmin 0.42 compatible {sky130_fd_pr__pfet_01v8 sky130_fd_pr__pfet_01v8_lvt sky130_fd_pr__pfet_01v8_hvt sky130_fd_pr__pfet_g5v0d10v5} full_metal 1 viasrc 100 viadrn 100 viagate 70 viagb 0 viagr 0 viagl 0 viagt 0

# cell sky130_fd_pr__nfet_01v8_27FZYL: kit device sky130_fd_pr__nfet_01v8, w 2 l 1 m 1 nf 2 diffcov 100 polycov 100 guard 0 glc 1 grc 1 gtc 1 gbc 1 tbcov 100 rlcov 100 topc 0 botc 1 poverlap 0 doverlap 0 lmin 0.15 wmin 0.42 compatible {sky130_fd_pr__nfet_01v8 sky130_fd_pr__nfet_01v8_lvt sky130_fd_bs_flash__special_sonosfet_star sky130_fd_pr__nfet_g5v0d10v5 sky130_fd_pr__nfet_05v0_nvt sky130_fd_pr__nfet_03v3_nvt} full_metal 1 viasrc 100 viadrn 100 viagate 100 viagb 0 viagr 0 viagl 0 viagt 0

# cell sky130_fd_pr__nfet_01v8_Q6296P: kit device sky130_fd_pr__nfet_01v8, w 2 l 1 m 1 nf 2 diffcov 100 polycov 100 guard 0 glc 1 grc 1 gtc 1 gbc 1 tbcov 100 rlcov 100 topc 1 botc 0 poverlap 0 doverlap 0 lmin 0.15 wmin 0.42 compatible {sky130_fd_pr__nfet_01v8 sky130_fd_pr__nfet_01v8_lvt sky130_fd_bs_flash__special_sonosfet_star sky130_fd_pr__nfet_g5v0d10v5 sky130_fd_pr__nfet_05v0_nvt sky130_fd_pr__nfet_03v3_nvt} full_metal 1 viasrc 100 viadrn 100 viagate 100 viagb 0 viagr 0 viagl 0 viagt 0

# cell sky130_fd_pr__nfet_01v8_TC9PLT: kit device sky130_fd_pr__nfet_01v8, w 2 l 0.150 m 1 nf 1 diffcov 100 polycov 100 guard 0 glc 1 grc 1 gtc 1 gbc 1 tbcov 100 rlcov 100 topc 0 botc 0 poverlap 0 doverlap 1 lmin 0.15 wmin 0.42 compatible {sky130_fd_pr__nfet_01v8 sky130_fd_pr__nfet_01v8_lvt sky130_fd_bs_flash__special_sonosfet_star sky130_fd_pr__nfet_g5v0d10v5 sky130_fd_pr__nfet_05v0_nvt sky130_fd_pr__nfet_03v3_nvt} full_metal 1 viasrc 100 viadrn 100 viagate 100 viagb 0 viagr 0 viagl 0 viagt 0

# cell sky130_fd_pr__nfet_01v8_6H9P4D: kit device sky130_fd_pr__nfet_01v8, w 1 l 0.150 m 1 nf 1 diffcov 100 polycov 100 guard 0 glc 1 grc 1 gtc 1 gbc 1 tbcov 100 rlcov 100 topc 0 botc 0 poverlap 0 doverlap 1 lmin 0.15 wmin 0.42 compatible {sky130_fd_pr__nfet_01v8 sky130_fd_pr__nfet_01v8_lvt sky130_fd_bs_flash__special_sonosfet_star sky130_fd_pr__nfet_g5v0d10v5 sky130_fd_pr__nfet_05v0_nvt sky130_fd_pr__nfet_03v3_nvt} full_metal 1 viasrc 100 viadrn 100 viagate 100 viagb 0 viagr 0 viagl 0 viagt 0

# cell sky130_fd_pr__nfet_01v8_6MBC9T: kit device sky130_fd_pr__nfet_01v8, w 1 l 0.8 m 1 nf 2 diffcov 100 polycov 100 guard 0 glc 1 grc 1 gtc 1 gbc 1 tbcov 100 rlcov 100 topc 1 botc 1 poverlap 0 doverlap 1 lmin 0.15 wmin 0.42 compatible {sky130_fd_pr__nfet_01v8 sky130_fd_pr__nfet_01v8_lvt sky130_fd_bs_flash__special_sonosfet_star sky130_fd_pr__nfet_g5v0d10v5 sky130_fd_pr__nfet_05v0_nvt sky130_fd_pr__nfet_03v3_nvt} full_metal 1 viasrc 100 viadrn 100 viagate 100 viagb 0 viagr 0 viagl 0 viagt 0
